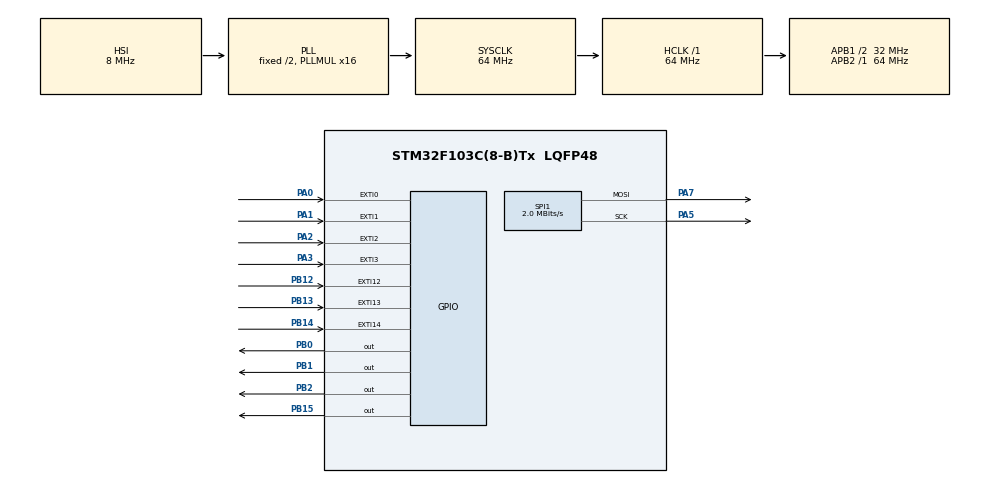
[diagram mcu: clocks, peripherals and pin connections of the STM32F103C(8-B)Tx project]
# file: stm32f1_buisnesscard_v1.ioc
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Mcu.Family=STM32F1
Mcu.Name=STM32F103C(8-B)Tx
Mcu.Package=LQFP48
NVIC.EXTI0_IRQn=true\:0\:0\:false\:false\:true\:true\:true\:true
NVIC.EXTI15_10_IRQn=true\:0\:0\:false\:false\:true\:true\:true\:true
NVIC.EXTI1_IRQn=true\:0\:0\:false\:false\:true\:true\:true\:true
NVIC.EXTI2_IRQn=true\:0\:0\:false\:false\:true\:true\:true\:true
NVIC.EXTI3_IRQn=true\:0\:0\:false\:false\:true\:true\:true\:true
NVIC.PriorityGroup=NVIC_PRIORITYGROUP_4
NVIC.TIM2_IRQn=true\:0\:0\:false\:false\:true\:true\:true\:true
PA0-WKUP.GPIO_PuPd=GPIO_PULLDOWN
PA0-WKUP.Signal=GPXTI0
PA1.GPIO_PuPd=GPIO_PULLDOWN
PA1.Signal=GPXTI1
PA13.Mode=Serial_Wire
PA13.Signal=SYS_JTMS-SWDIO
PA14.Mode=Serial_Wire
PA14.Signal=SYS_JTCK-SWCLK
PA2.GPIO_PuPd=GPIO_PULLDOWN
PA2.Signal=GPXTI2
PA3.GPIO_PuPd=GPIO_PULLDOWN
PA3.Signal=GPXTI3
PA5.Mode=TX_Only_Simplex_Unidirect_Master
PA5.Signal=SPI1_SCK
PA7.Mode=TX_Only_Simplex_Unidirect_Master
PA7.Signal=SPI1_MOSI
PB0.GPIO_PuPd=GPIO_NOPULL
PB0.GPIO_Speed=GPIO_SPEED_FREQ_HIGH
PB0.Signal=GPIO_Output
PB1.GPIO_Speed=GPIO_SPEED_FREQ_HIGH
PB1.Signal=GPIO_Output
PB12.GPIO_PuPd=GPIO_PULLUP
PB12.Signal=GPXTI12
PB13.GPIO_PuPd=GPIO_PULLDOWN
PB13.Signal=GPXTI13
PB14.GPIO_PuPd=GPIO_PULLDOWN
PB14.Signal=GPXTI14
PB15.GPIO_ModeDefaultOutputPP=GPIO_MODE_OUTPUT_PP
PB15.GPIO_PuPd=GPIO_NOPULL
PB15.PinState=GPIO_PIN_SET
PB15.Signal=GPIO_Output
PB2.GPIO_Speed=GPIO_SPEED_FREQ_HIGH
PB2.Signal=GPIO_Output
ProjectManager.HeapSize=0x0
ProjectManager.StackSize=0x400
ProjectManager.TargetToolchain=Makefile
RCC.AHBFreq_Value=64000000
RCC.APB1CLKDivider=RCC_HCLK_DIV2
RCC.APB1Freq_Value=32000000
RCC.APB1TimFreq_Value=64000000
RCC.APB2Freq_Value=64000000
RCC.APB2TimFreq_Value=64000000
RCC.HCLKFreq_Value=64000000
RCC.PLLMUL=RCC_PLL_MUL16
RCC.SYSCLKFreq_VALUE=64000000
RCC.SYSCLKSource=RCC_SYSCLKSOURCE_PLLCLK
RCC.USBFreq_Value=64000000
SPI1.BaudRatePrescaler=SPI_BAUDRATEPRESCALER_32
SPI1.CalculateBaudRate=2.0 MBits/s
SPI1.Direction=SPI_DIRECTION_2LINES
SPI1.Mode=SPI_MODE_MASTER
SPI1.VirtualType=VM_MASTER
TIM2.Period=29297
TIM2.Prescaler=65535
TIM4.Period=0xffff
TIM4.Prescaler=4882
VP_TIM2_VS_ClockSourceINT.Mode=Internal
VP_TIM4_VS_ClockSourceINT.Mode=Internal
board=custom

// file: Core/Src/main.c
/* USER CODE BEGIN Header */
/**
  ******************************************************************************
  * @file           : main.c
  * @brief          : Main program body
  ******************************************************************************
  * @attention
  *
  * Copyright (c) 2025 STMicroelectronics.
  * All rights reserved.
  *
  * This software is licensed under terms that can be found in the LICENSE file
  * in the root directory of this software component.
  * If no LICENSE file comes with this software, it is provided AS-IS.
  *
  ******************************************************************************
  */
/* USER CODE END Header */
#include "main.h"

/* USER CODE BEGIN Includes */
#include <stdio.h>
#include "st7735.h"
#include "mandelbrot.h"
#include "benchmark.h"
#include "stm32f1xx_it.h"
//#include "mandelbrot.h"

/* USER CODE END Includes */

SPI_HandleTypeDef hspi1;

TIM_HandleTypeDef htim2;
TIM_HandleTypeDef htim4;

void SystemClock_Config(void);
static void MX_GPIO_Init(void);
static void MX_SPI1_Init(void);
static void MX_TIM2_Init(void);
static void MX_TIM4_Init(void);

/* USER CODE BEGIN 0 */

//when idling, vreg stop mode, low power mode stop
//when sleeping, vreg stop mode, low power mode standby (RTC alarm)

bool button_event;

//I could just configure the register not to reset but I'm tired and HAL is gross af anyway
void HAL_TIM_PeriodElapsedCallback(TIM_HandleTypeDef* htim) {
  button_event = false;
}

int button_pressed = 0;
bool button_event;

/* USER CODE END 0 */

int main(void)
{

  /* MCU Configuration--------------------------------------------------------*/

  /* Reset of all peripherals, Initializes the Flash interface and the Systick. */
  HAL_Init();

  /* Configure the system clock */
  SystemClock_Config();

  /* Initialize all configured peripherals */
  MX_GPIO_Init();
  MX_SPI1_Init();
  MX_TIM2_Init();
  MX_TIM4_Init();
  /* USER CODE BEGIN 2 */
  ST7735_Init();
  ST7735_InvertColors(false);
  ST7735_FillScreenFast(ST7735_BLUE);
  HAL_ResumeTick();
  /* USER CODE END 2 */

  /* Infinite loop */
  /* USER CODE BEGIN WHILE */
//  benchmark();
  while (1)
  {
    render_loop();
//    benchmark();
    /* USER CODE END WHILE */

  }
}

void SystemClock_Config(void)
{
  RCC_OscInitTypeDef RCC_OscInitStruct = {0};
  RCC_ClkInitTypeDef RCC_ClkInitStruct = {0};

  /** Initializes the RCC Oscillators according to the specified parameters
  * in the RCC_OscInitTypeDef structure.
  */
  RCC_OscInitStruct.OscillatorType = RCC_OSCILLATORTYPE_HSI;
  RCC_OscInitStruct.HSIState = RCC_HSI_ON;
  RCC_OscInitStruct.HSICalibrationValue = RCC_HSICALIBRATION_DEFAULT;
  RCC_OscInitStruct.PLL.PLLState = RCC_PLL_ON;
  RCC_OscInitStruct.PLL.PLLSource = RCC_PLLSOURCE_HSI_DIV2;
  RCC_OscInitStruct.PLL.PLLMUL = RCC_PLL_MUL16;
  if (HAL_RCC_OscConfig(&RCC_OscInitStruct) != HAL_OK)
  {
    Error_Handler();
  }

  /** Initializes the CPU, AHB and APB buses clocks
  */
  RCC_ClkInitStruct.ClockType = RCC_CLOCKTYPE_HCLK|RCC_CLOCKTYPE_SYSCLK
                              |RCC_CLOCKTYPE_PCLK1|RCC_CLOCKTYPE_PCLK2;
  RCC_ClkInitStruct.SYSCLKSource = RCC_SYSCLKSOURCE_PLLCLK;
  RCC_ClkInitStruct.AHBCLKDivider = RCC_SYSCLK_DIV1;
  RCC_ClkInitStruct.APB1CLKDivider = RCC_HCLK_DIV2;
  RCC_ClkInitStruct.APB2CLKDivider = RCC_HCLK_DIV1;

  if (HAL_RCC_ClockConfig(&RCC_ClkInitStruct, FLASH_LATENCY_2) != HAL_OK)
  {
    Error_Handler();
  }
}

static void MX_SPI1_Init(void)
{

  /* SPI1 parameter configuration*/
  hspi1.Instance = SPI1;
  hspi1.Init.Mode = SPI_MODE_MASTER;
  hspi1.Init.Direction = SPI_DIRECTION_2LINES;
  hspi1.Init.DataSize = SPI_DATASIZE_8BIT;
  hspi1.Init.CLKPolarity = SPI_POLARITY_LOW;
  hspi1.Init.CLKPhase = SPI_PHASE_1EDGE;
  hspi1.Init.NSS = SPI_NSS_SOFT;
  hspi1.Init.BaudRatePrescaler = SPI_BAUDRATEPRESCALER_32;
  hspi1.Init.FirstBit = SPI_FIRSTBIT_MSB;
  hspi1.Init.TIMode = SPI_TIMODE_DISABLE;
  hspi1.Init.CRCCalculation = SPI_CRCCALCULATION_DISABLE;
  hspi1.Init.CRCPolynomial = 10;
  if (HAL_SPI_Init(&hspi1) != HAL_OK)
  {
    Error_Handler();
  }

}

static void MX_TIM2_Init(void)
{

  TIM_ClockConfigTypeDef sClockSourceConfig = {0};
  TIM_MasterConfigTypeDef sMasterConfig = {0};

  htim2.Instance = TIM2;
  htim2.Init.Prescaler = 65535;
  htim2.Init.CounterMode = TIM_COUNTERMODE_UP;
  htim2.Init.Period = 29297;
  htim2.Init.ClockDivision = TIM_CLOCKDIVISION_DIV1;
  htim2.Init.AutoReloadPreload = TIM_AUTORELOAD_PRELOAD_DISABLE;
  if (HAL_TIM_Base_Init(&htim2) != HAL_OK)
  {
    Error_Handler();
  }
  sClockSourceConfig.ClockSource = TIM_CLOCKSOURCE_INTERNAL;
  if (HAL_TIM_ConfigClockSource(&htim2, &sClockSourceConfig) != HAL_OK)
  {
    Error_Handler();
  }
  sMasterConfig.MasterOutputTrigger = TIM_TRGO_RESET;
  sMasterConfig.MasterSlaveMode = TIM_MASTERSLAVEMODE_DISABLE;
  if (HAL_TIMEx_MasterConfigSynchronization(&htim2, &sMasterConfig) != HAL_OK)
  {
    Error_Handler();
  }

}

static void MX_TIM4_Init(void)
{

  TIM_ClockConfigTypeDef sClockSourceConfig = {0};
  TIM_MasterConfigTypeDef sMasterConfig = {0};

  htim4.Instance = TIM4;
  htim4.Init.Prescaler = 4882;
  htim4.Init.CounterMode = TIM_COUNTERMODE_UP;
  htim4.Init.Period = 0xffff;
  htim4.Init.ClockDivision = TIM_CLOCKDIVISION_DIV1;
  htim4.Init.AutoReloadPreload = TIM_AUTORELOAD_PRELOAD_DISABLE;
  if (HAL_TIM_Base_Init(&htim4) != HAL_OK)
  {
    Error_Handler();
  }
  sClockSourceConfig.ClockSource = TIM_CLOCKSOURCE_INTERNAL;
  if (HAL_TIM_ConfigClockSource(&htim4, &sClockSourceConfig) != HAL_OK)
  {
    Error_Handler();
  }
  sMasterConfig.MasterOutputTrigger = TIM_TRGO_RESET;
  sMasterConfig.MasterSlaveMode = TIM_MASTERSLAVEMODE_DISABLE;
  if (HAL_TIMEx_MasterConfigSynchronization(&htim4, &sMasterConfig) != HAL_OK)
  {
    Error_Handler();
  }

}

static void MX_GPIO_Init(void)
{
  GPIO_InitTypeDef GPIO_InitStruct = {0};

  /* GPIO Ports Clock Enable */
  __HAL_RCC_GPIOA_CLK_ENABLE();
  __HAL_RCC_GPIOB_CLK_ENABLE();

  /*Configure GPIO pin Output Level */
  HAL_GPIO_WritePin(GPIOB, GPIO_PIN_0|GPIO_PIN_1|GPIO_PIN_2, GPIO_PIN_RESET);

  /*Configure GPIO pin Output Level */
  HAL_GPIO_WritePin(GPIOB, GPIO_PIN_15, GPIO_PIN_SET);

  /*Configure GPIO pins : PA0 PA1 PA2 PA3 */
  GPIO_InitStruct.Pin = GPIO_PIN_0|GPIO_PIN_1|GPIO_PIN_2|GPIO_PIN_3;
  GPIO_InitStruct.Mode = GPIO_MODE_IT_RISING;
  GPIO_InitStruct.Pull = GPIO_PULLDOWN;
  HAL_GPIO_Init(GPIOA, &GPIO_InitStruct);

  /*Configure GPIO pins : PB0 PB1 PB2 */
  GPIO_InitStruct.Pin = GPIO_PIN_0|GPIO_PIN_1|GPIO_PIN_2;
  GPIO_InitStruct.Mode = GPIO_MODE_OUTPUT_PP;
  GPIO_InitStruct.Pull = GPIO_NOPULL;
  GPIO_InitStruct.Speed = GPIO_SPEED_FREQ_HIGH;
  HAL_GPIO_Init(GPIOB, &GPIO_InitStruct);

  /*Configure GPIO pin : PB12 */
  GPIO_InitStruct.Pin = GPIO_PIN_12;
  GPIO_InitStruct.Mode = GPIO_MODE_IT_RISING;
  GPIO_InitStruct.Pull = GPIO_PULLUP;
  HAL_GPIO_Init(GPIOB, &GPIO_InitStruct);

  /*Configure GPIO pins : PB13 PB14 */
  GPIO_InitStruct.Pin = GPIO_PIN_13|GPIO_PIN_14;
  GPIO_InitStruct.Mode = GPIO_MODE_IT_RISING;
  GPIO_InitStruct.Pull = GPIO_PULLDOWN;
  HAL_GPIO_Init(GPIOB, &GPIO_InitStruct);

  /*Configure GPIO pin : PB15 */
  GPIO_InitStruct.Pin = GPIO_PIN_15;
  GPIO_InitStruct.Mode = GPIO_MODE_OUTPUT_PP;
  GPIO_InitStruct.Pull = GPIO_NOPULL;
  GPIO_InitStruct.Speed = GPIO_SPEED_FREQ_LOW;
  HAL_GPIO_Init(GPIOB, &GPIO_InitStruct);

  /* EXTI interrupt init*/
  HAL_NVIC_SetPriority(EXTI0_IRQn, 0, 0);
  HAL_NVIC_EnableIRQ(EXTI0_IRQn);

  HAL_NVIC_SetPriority(EXTI1_IRQn, 0, 0);
  HAL_NVIC_EnableIRQ(EXTI1_IRQn);

  HAL_NVIC_SetPriority(EXTI2_IRQn, 0, 0);
  HAL_NVIC_EnableIRQ(EXTI2_IRQn);

  HAL_NVIC_SetPriority(EXTI3_IRQn, 0, 0);
  HAL_NVIC_EnableIRQ(EXTI3_IRQn);

  HAL_NVIC_SetPriority(EXTI15_10_IRQn, 0, 0);
  HAL_NVIC_EnableIRQ(EXTI15_10_IRQn);

}

void Error_Handler(void)
{
  /* USER CODE BEGIN Error_Handler_Debug */
  NVIC_SystemReset();
  /* USER CODE END Error_Handler_Debug */
}
